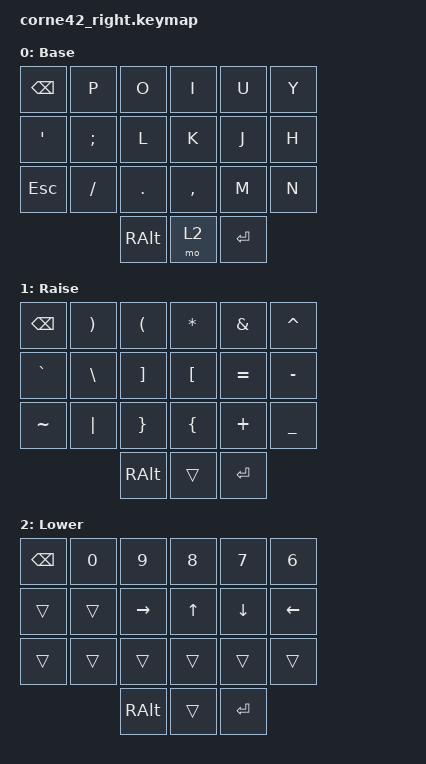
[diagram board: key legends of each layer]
#include <behaviors.dtsi>
#include <dt-bindings/zmk/keys.h>

/ {
    keymap {
        compatible = "zmk,keymap";

        base_layer {
            display-name = "Base";
            bindings = <
                &kp BSPC   &kp P       &kp O       &kp I       &kp U       &kp Y
                &kp SQT    &kp SEMI    &kp L       &kp K       &kp J       &kp H
                &kp ESC    &kp FSLH    &kp DOT     &kp COMMA   &kp M       &kp N
                                        &kp RALT    &mo 2       &kp RET
            >;
        };

        raise_layer {
            display-name = "Raise";
            bindings = <
                &kp BSPC   &kp RPAR    &kp LPAR    &kp ASTRK   &kp AMPS    &kp CARET
                &kp GRAVE  &kp BSLH    &kp RBKT    &kp LBKT    &kp EQUAL   &kp MINUS
                &kp TILDE  &kp PIPE    &kp RBRC    &kp LBRC    &kp PLUS    &kp UNDER
                                        &kp RALT    &trans      &kp RET
            >;
        };

        lower_layer {
            display-name = "Lower";
            bindings = <
                &kp BSPC   &kp N0      &kp N9      &kp N8      &kp N7      &kp N6
                &trans     &trans      &kp RIGHT   &kp UP      &kp DOWN    &kp LEFT
                &trans     &trans      &trans      &trans      &trans      &trans
                                        &kp RALT    &trans      &kp RET
            >;
        };
    };
};
